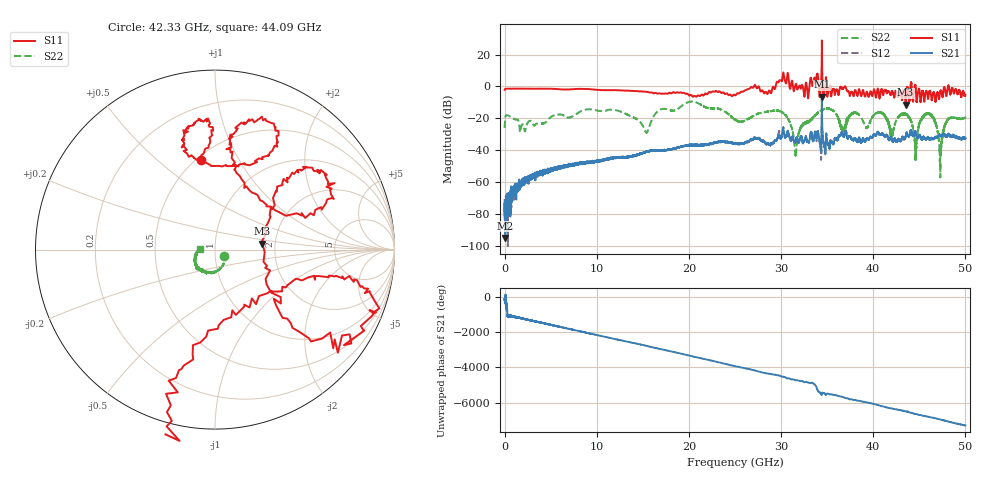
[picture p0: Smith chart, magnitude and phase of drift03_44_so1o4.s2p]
!Created with skrf (http://scikit-rf.org).
# Hz S RI R 50.0
!freq ReS11 ImS11 ReS21 ImS21 ReS12 ImS12 ReS22 ImS22
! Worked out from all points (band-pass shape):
!   10000 points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, 5.3 MHz to 50 GHz, reference 50 ohm
!   highest |S21| = -6.38 dB at 34.43 GHz (marker M1); lowest = -94.9 dB at 65.3 MHz (marker M2)
!   |S21| within 3 dB of the highest: 34.42757 GHz to 34.43521 GHz (7.634 MHz wide, 0.0222 % of centre)
!   lowest |S11| = -11.5 dB at 43.52 GHz (marker M3), VSWR 1.72, Z = 85.5 + j6.2 ohm
!   |S11| at or under -10 dB: 43.49018 GHz to 43.54315 GHz (52.97 MHz wide, 0.122 % of centre)
!   |S22| runs from -57.1 to -9.4 dB; largest |S21 - S12| = 0.14
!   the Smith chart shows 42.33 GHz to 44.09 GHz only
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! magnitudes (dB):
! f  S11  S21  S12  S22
! 5.3 MHz  -2.1  -73.2  -70.6  -25.9
! 65.3 MHz  -1.5  -94.9  -74.2  -19.7
! 2.855 GHz  -1.4  -57.8  -57.3  -21.6
! 8.34 GHz  -1.5  -47.6  -48.2  -15.3
! 12.46 GHz  -2.4  -44.3  -44.6  -15.5
! 15.39 GHz  -3.4  -41.1  -40.8  -28.8
! 16.67 GHz  -4.4  -40.1  -40.1  -15.3
! 20.47 GHz  -6.5  -37.3  -36.9  -9.6
! 25.01 GHz  -5.5  -35.8  -35.8  -20.9
! 29.93 GHz  4.0  -32.6  -31.6  -15.6
! 31.6 GHz  1.5  -33.6  -34.1  -43.1
! 33.34 GHz  2.5  -30.5  -30.4  -20.4
! 34.43 GHz  28.8  -6.4  -8.1  -14.5
! 36.69 GHz  -1.4  -29.5  -29.6  -26.8
! 37.95 GHz  -3.9  -32.5  -32.8  -16.3
! 41.67 GHz  -2.9  -33.3  -33.3  -23.7
! 43.52 GHz  -11.5  -31.3  -31.5  -17.5
! 44.61 GHz  -1.7  -29.2  -29.1  -44.0
! 46.24 GHz  -4.1  -32.8  -33.0  -17.9
! 47.29 GHz  -3.1  -31.1  -30.8  -53.0
! 48.14 GHz  0.6  -29.7  -30.0  -20.8
! 50 GHz  -5.3  -32.2  -32.6  -19.7
